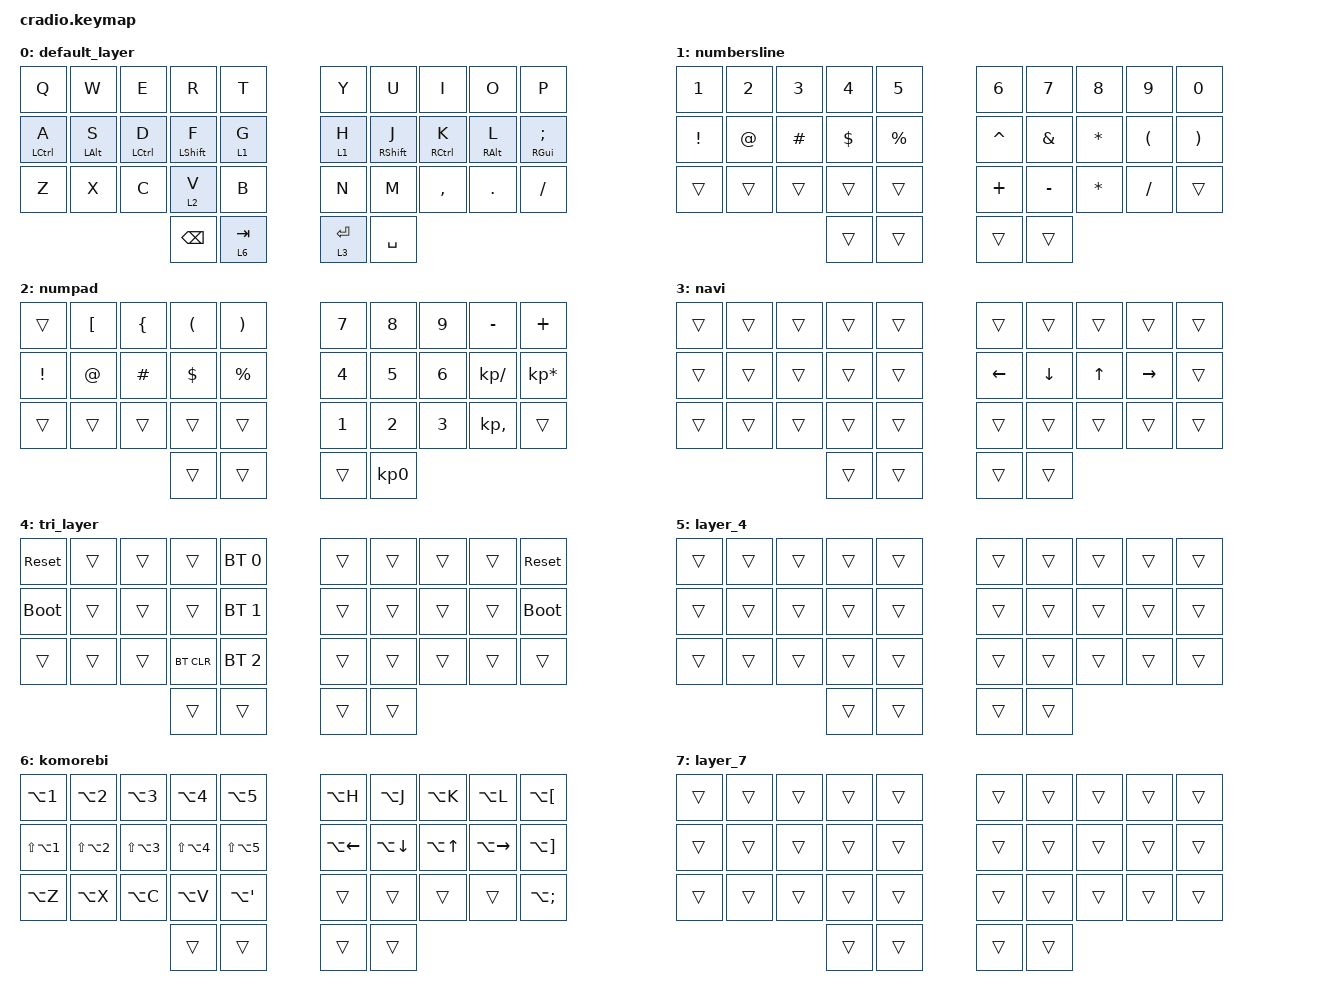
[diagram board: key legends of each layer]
// Copyright (c) 2022 The ZMK Contributors
// SPDX-License-Identifier: MIT

#include <behaviors.dtsi>
#include <dt-bindings/zmk/bt.h>
#include <dt-bindings/zmk/keys.h>

/ {
    behaviors {
        ht: hold_tap {
            compatible = "zmk,behavior-hold-tap";
            #binding-cells = <2>;
            flavor = "tap-preferred";
            tapping-term-ms = <220>;
            quick-tap-ms = <150>;
            require-prior-idle-ms = <100>;
            bindings = <&kp>, <&kp>;
        };
    };

    conditional_layers {
        compatible = "zmk,conditional-layers";

        tri_layer {
            if-layers = <4 2>;
            then-layer = <5>;
        };
    };

    combos {
        compatible = "zmk,combos";

        // ---- left hand ----

        combo_grave {
            bindings = <&kp GRAVE>;
            key-positions = <1 2>;    // W E
        };

        combo_tilde {
            bindings = <&kp TILDE>;
            key-positions = <11 12>;  // S D
        };

        combo_bslh {
            bindings = <&kp BSLH>;
            key-positions = <21 22>;  // X C
        };

        combo_home {
            bindings = <&kp HOME>;
            key-positions = <2 3>;    // E R
        };

        combo_end {
            bindings = <&kp END>;
            key-positions = <12 13>;  // D F
        };

        combo_esc {
            bindings = <&kp ESC>;
            key-positions = <3 4>;    // R T
        };

        combo_del {
            bindings = <&kp DEL>;
            key-positions = <13 14>;  // F G
        };

        combo_pscrn {
            bindings = <&kp PRINTSCREEN>;
            key-positions = <23 24>;  // V B
        };

        // ---- right hand ----

        combo_pgup {
            bindings = <&kp PG_UP>;
            key-positions = <5 6>;    // Y U
        };

        combo_pgdn {
            bindings = <&kp PG_DN>;
            key-positions = <15 16>;  // H J
        };

        combo_lpar {
            bindings = <&kp LPAR>;
            key-positions = <6 7>;    // U I
        };

        combo_rpar {
            bindings = <&kp RPAR>;
            key-positions = <7 8>;    // I O
        };

        combo_lbkt {
            bindings = <&kp LBKT>;
            key-positions = <16 17>;  // J K
        };

        combo_rbkt {
            bindings = <&kp RBKT>;
            key-positions = <17 18>;  // K L
        };

        combo_lbrc {
            bindings = <&kp LBRC>;
            key-positions = <26 27>;  // M ,
        };

        combo_rbrc {
            bindings = <&kp RBRC>;
            key-positions = <27 28>;  // , .
        };
    };

    keymap {
        compatible = "zmk,keymap";

        default_layer {
            bindings = <
&kp Q               &kp W       &kp E        &kp R          &kp T        &kp Y        &kp U        &kp I        &kp O       &kp P
&ht LEFT_CONTROL A  &ht LALT S  &ht LCTRL D  &ht LSHIFT F   &lt 1 G      &lt 1 H      &ht RSHFT J  &ht RCTRL K  &ht RALT L  &ht RGUI SEMICOLON
&kp Z               &kp X       &kp C        &lt 2 V        &kp B        &kp N        &kp M        &kp COMMA    &kp DOT     &kp FSLH
                                             &kp BACKSPACE  &lt 6 TAB    &lt 3 ENTER  &kp SPACE
            >;
        };

        numbersline {
            bindings = <
&kp N1    &kp N2  &kp N3    &kp N4    &kp N5       &kp N6     &kp N7     &kp N8     &kp N9    &kp N0
&kp EXCL  &kp AT  &kp HASH  &kp DLLR  &kp PRCNT    &kp CARET  &kp AMPS   &kp ASTRK  &kp LPAR  &kp RPAR
&trans    &trans  &trans    &trans    &trans       &kp PLUS   &kp MINUS  &kp ASTRK  &kp FSLH  &trans
                            &trans    &trans       &trans     &trans
            >;
        };

        numpad {
            bindings = <
&trans    &kp LBKT  &kp LBRC  &kp LEFT_PARENTHESIS  &kp RPAR     &kp NUMBER_7  &kp NUMBER_8     &kp NUMBER_9  &kp MINUS      &kp PLUS
&kp EXCL  &kp AT    &kp HASH  &kp DLLR              &kp PRCNT    &kp NUMBER_4  &kp NUMBER_5     &kp NUMBER_6  &kp KP_DIVIDE  &kp KP_ASTERISK
&trans    &trans    &trans    &trans                &trans       &kp NUMBER_1  &kp NUMBER_2     &kp NUMBER_3  &kp KP_COMMA   &trans
                              &trans                &trans       &trans        &kp KP_NUMBER_0
            >;
        };

        navi {
            bindings = <
&trans  &trans  &trans  &trans  &trans    &trans    &trans    &trans  &trans     &trans
&trans  &trans  &trans  &trans  &trans    &kp LEFT  &kp DOWN  &kp UP  &kp RIGHT  &trans
&trans  &trans  &trans  &trans  &trans    &trans    &trans    &trans  &trans     &trans
                        &trans  &trans    &trans    &trans
            >;
        };

        tri_layer {
            bindings = <
&sys_reset   &trans  &trans  &trans      &bt BT_SEL 0    &trans  &trans  &trans  &trans  &sys_reset
&bootloader  &trans  &trans  &trans      &bt BT_SEL 1    &trans  &trans  &trans  &trans  &bootloader
&trans       &trans  &trans  &bt BT_CLR  &bt BT_SEL 2    &trans  &trans  &trans  &trans  &trans
                             &trans      &trans          &trans  &trans
            >;
        };

        layer_4 {
            bindings = <
&trans  &trans  &trans  &trans  &trans    &trans  &trans  &trans  &trans  &trans
&trans  &trans  &trans  &trans  &trans    &trans  &trans  &trans  &trans  &trans
&trans  &trans  &trans  &trans  &trans    &trans  &trans  &trans  &trans  &trans
                        &trans  &trans    &trans  &trans
            >;
        };

        komorebi {
            bindings = <
&kp LA(NUMBER_1)      &kp LA(NUMBER_2)      &kp LA(NUMBER_3)      &kp LA(NUMBER_4)      &kp LA(NUMBER_5)        &kp LA(H)     &kp LA(J)     &kp LA(K)   &kp LA(L)      &kp LA(LBKT)
&kp LS(LA(NUMBER_1))  &kp LS(LA(NUMBER_2))  &kp LS(LA(NUMBER_3))  &kp LS(LA(NUMBER_4))  &kp LS(LA(NUMBER_5))    &kp LA(LEFT)  &kp LA(DOWN)  &kp LA(UP)  &kp LA(RIGHT)  &kp LA(RBKT)
&kp LA(Z)             &kp LA(X)             &kp LA(C)             &kp LA(V)             &kp LA(SQT)             &trans        &trans        &trans      &trans         &kp LA(SEMICOLON)
                                                                  &trans                &trans                  &trans        &trans
            >;
        };

        layer_7 {
            bindings = <
&trans  &trans  &trans  &trans  &trans    &trans  &trans  &trans  &trans  &trans
&trans  &trans  &trans  &trans  &trans    &trans  &trans  &trans  &trans  &trans
&trans  &trans  &trans  &trans  &trans    &trans  &trans  &trans  &trans  &trans
                        &trans  &trans    &trans  &trans
            >;
        };
    };
};
